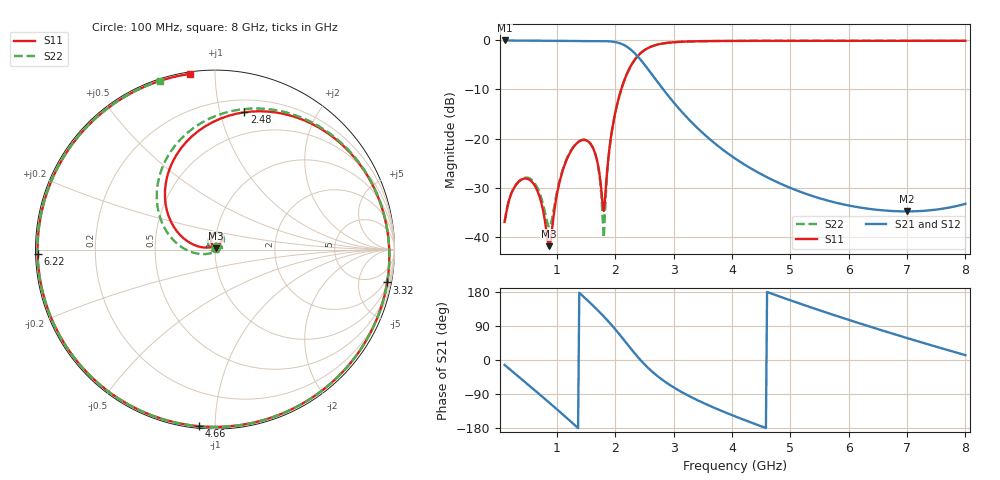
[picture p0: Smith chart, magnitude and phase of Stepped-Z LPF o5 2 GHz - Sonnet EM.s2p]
! Sonnet Data File
! From: sonnet Version : 18.53-Lite
! From Emgraph Data:
! Data File Written: 03/28/2024 08:34:15
!< HDATE 03/28/2024 08:18:05
!< MDATE 03/28/2024 08:18:05
!< PARAMS
!< L1 = 4.11
!< W1 = 0.1
!< W2 = 5.0
!< L3 = 8.62
!< L2 = 5.62
!< END PARAMS
# GHZ S MA R 50.00000
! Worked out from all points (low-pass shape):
!   396 points, 100 MHz to 8 GHz, reference 50 ohm
!   highest |S21| = -0.03 dB at 100 MHz (marker M1); lowest = -34.8 dB at 7 GHz (marker M2)
!   |S21| within 3 dB of the highest: start of sweep to 2.363 GHz
!   lowest |S11| = -41.9 dB at 860 MHz (marker M3), VSWR 1.02, Z = 50.4 + j0.69 ohm
!   |S11| at or under -10 dB: start of sweep to 2.099 GHz
!   |S22| runs from -40.1 to -0.1 dB; largest |S21 - S12| = 1.4e-12
!   S11 on the Smith chart (normalised r, x): 100 MHz: 1.01, +0.03; 2.48 GHz: 0.30, +1.19; 3.32 GHz: 1, -10; 4.66 GHz: 0.01, -0.91; 6.22 GHz: 0.01, -0.01; 8 GHz: 0.01, +0.87
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0.1  0.01424 68.1  0.997 -13.0  0.997 -13.0  0.01432 66.3
0.26  0.03141 52.0  0.9931 -33.6  0.9931 -33.6  0.0316 43.5
0.52  0.03836 25.2  0.9924 -67.2  0.9924 -67.2  0.03957 10.0
0.72  0.02335 10.7  0.9911 -93.4  0.9911 -93.4  0.02584 -28.7
0.86  0.008052 58.2  0.9903 -111.8  0.9903 -111.8  0.01256 -103.9
1.1  0.04809 115.1  0.9877 -144.0  0.9877 -144.0  0.04927 140.5
1.42  0.0962 80.1  0.9817 171.8  0.9817 171.8  0.09689 85.0
1.68  0.06182 53.2  0.9814 133.9  0.9814 133.9  0.06106 39.4
1.8  0.01838 111.9  0.9813 115.0  0.9813 115.0  0.009829 -61.9
1.88  0.06453 169.4  0.9778 101.8  0.9778 101.8  0.06173 -156.1
2  0.1876 160.1  0.9592 80.6  0.9592 80.6  0.186 175.8
2.24  0.5169 119.2  0.8256 34.6  0.8256 34.6  0.5156 126.8
2.48  0.782 78.0  0.5849 -8.5  0.5849 -8.5  0.7808 82.4
2.74  0.9108 42.7  0.3654 -44.8  0.3654 -44.8  0.9099 45.4
3.32  0.9765 -10.8  0.1439 -99.5  0.1439 -99.5  0.9761 -10.1
4.06  0.9867 -60.3  0.06233 -149.2  0.06233 -149.2  0.9868 -59.7
4.66  0.988 -95.3  0.03883 176.1  0.03883 176.1  0.9887 -93.6
5.38  0.9886 -135.0  0.02603 137.4  0.02603 137.4  0.9893 -130.9
6.22  0.9886 -178.7  0.01979 95.1  0.01979 95.1  0.9892 -171.8
6.7  0.9884 157.6  0.01841 71.9  0.01841 71.9  0.9891 165.7
7  0.9885 143.3  0.01817 57.9  0.01817 57.9  0.9891 152.0
8  0.9888 98.0  0.02171 12.8  0.02171 12.8  0.989 108.0
